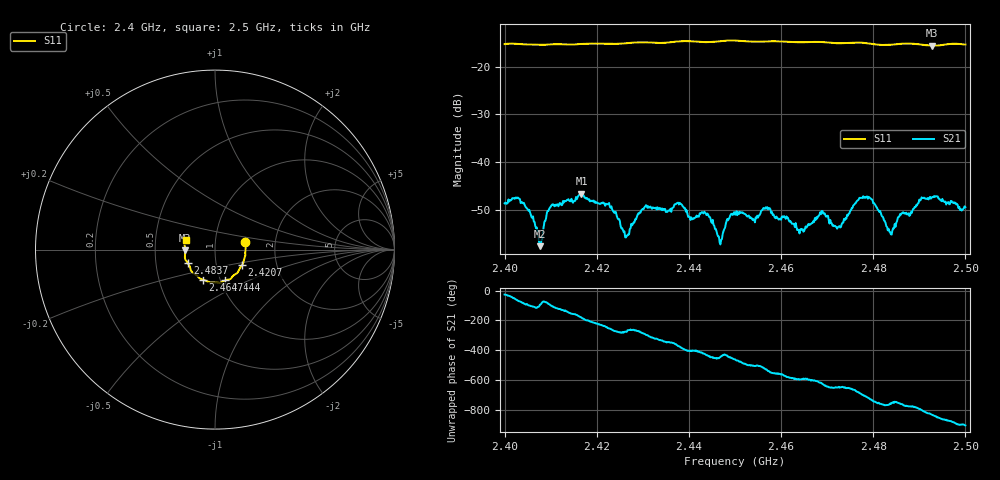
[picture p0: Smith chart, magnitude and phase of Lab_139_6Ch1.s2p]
# Hz S RI R 50
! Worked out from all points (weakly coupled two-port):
!   601 points, 2.4 GHz to 2.5 GHz, reference 50 ohm
!   highest |S21| = -46.68 dB at 2.4167 GHz (marker M1); lowest = -57.7 dB at 2.4077 GHz (marker M2)
!   lowest |S11| = -15.6 dB at 2.4928 GHz (marker M3), VSWR 1.40, Z = 35.8 - j0.35 ohm
!   |S11| at or under -10 dB: start of sweep to end of sweep
!   S12 and S22 are empty: the file has one direction only
!   S11 on the Smith chart (normalised r, x): 2.4 GHz: 1.40, +0.12; 2.4207 GHz: 1.33, -0.24; 2.444 GHz: 1.06, -0.37; 2.4647 GHz: 0.83, -0.29; 2.4837 GHz: 0.73, -0.11; 2.5 GHz: 0.72, +0.08
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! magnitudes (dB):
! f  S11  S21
! 2.4 GHz  -15.3  -48.7
! 2.4037 GHz  -15.3  -48.5
! 2.4077 GHz  -15.4  -57.7
! 2.41 GHz  -15.3  -49.4
! 2.4167 GHz  -15.2  -46.7
! 2.4207 GHz  -15.2  -48.8
! 2.4265 GHz  -15.1  -55.5
! 2.4302 GHz  -14.9  -49.9
! 2.4333 GHz  -15.0  -49.8
! 2.444 GHz  -14.9  -50.8
! 2.4467 GHz  -14.7  -56.9
! 2.45 GHz  -14.5  -51.0
! 2.4572 GHz  -14.7  -49.9
! 2.4647 GHz  -14.9  -54.1
! 2.4667 GHz  -14.8  -52.8
! 2.469 GHz  -14.8  -50.3
! 2.4725 GHz  -15.1  -53.6
! 2.4787 GHz  -15.1  -47.2
! 2.4833 GHz  -15.5  -54.0
! 2.4837 GHz  -15.4  -54.7
! 2.4928 GHz  -15.6  -47.4
! 2.5 GHz  -15.4  -49.5
